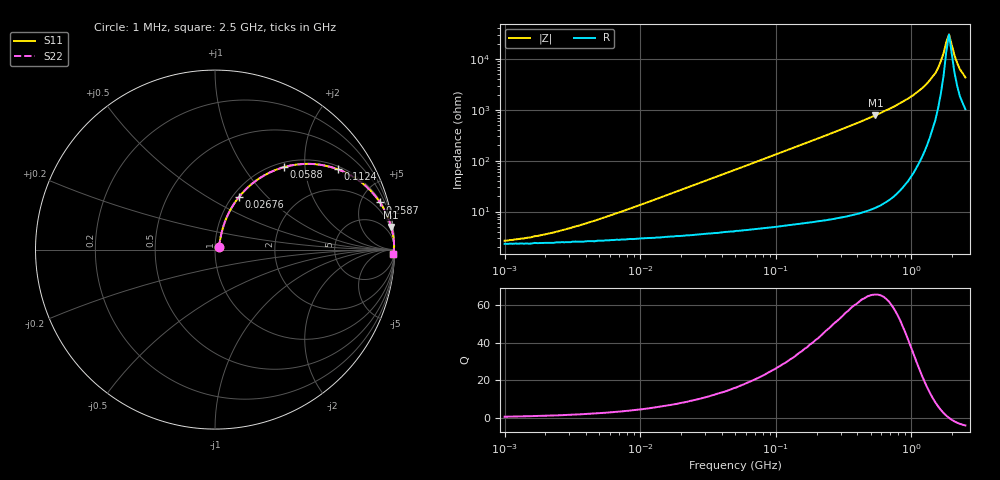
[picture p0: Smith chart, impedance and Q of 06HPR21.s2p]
# MHz S MA R 50
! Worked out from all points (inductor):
!   170 points, 1 MHz to 2.5 GHz, reference 50 ohm
!   read as one part in series: L = 210 nH near 6.372 MHz
!   highest Q = 65.7 at 542.5 MHz (marker M1), where L = 229 nH
!   self-resonance near 1.808 GHz
!   S11 on the Smith chart (normalised r, x): 1 MHz: 1.05, +0.03; 26.76 MHz: 1.07, +0.71; 58.8 MHz: 1.09, +1.55; 112.4 MHz: 1.10, +2.98; 258.7 MHz: 1.14, +6.96; 2.5 GHz: 22, -83
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1  0.026 29.1  0.977 -0.7  0.977 -0.7  0.026 29.1
1.743  0.032 42.5  0.976 -1.3  0.976 -1.3  0.032 42.5
3.829  0.055 60.1  0.974 -2.8  0.974 -2.8  0.055 60.1
13.998  0.179 70.2  0.955 -10.2  0.955 -10.2  0.179 70.2
26.763  0.324 65.4  0.914 -18.8  0.914 -18.8  0.324 65.4
51.171  0.545 53.5  0.805 -33.0  0.805 -33.0  0.545 53.5
58.795  0.598 50.2  0.769 -36.7  0.769 -36.7  0.598 50.2
112.416  0.817 33.2  0.549 -54.7  0.549 -54.7  0.817 33.2
187.066  0.92 21.6  0.369 -66.9  0.369 -66.9  0.92 21.6
258.665  0.956 15.9  0.275 -72.9  0.275 -72.9  0.956 15.9
542.546  0.99 7.3  0.127 -81.8  0.127 -81.8  0.99 7.3
683.861  0.994 5.5  0.096 -83.6  0.096 -83.6  0.994 5.5
1037.345  0.997 2.9  0.051 -85.4  0.051 -85.4  0.997 2.9
1369.494  0.998 1.5  0.026 -84.2  0.026 -84.2  0.998 1.5
1573.542  0.997 0.8  0.015 -79.8  0.015 -79.8  0.997 0.8
1726.199  0.997 0.4  0.007714 -68.3  0.007714 -68.3  0.997 0.4
1807.994  0.997 0.2  0.004624 -48.8  0.004624 -48.8  0.997 0.2
1893.665  0.997 -0.0  0.003295 3.4  0.003295 3.4  0.997 -0.0
2077.377  0.996 -0.4  0.008493 62.4  0.008493 62.4  0.996 -0.4
2175.813  0.996 -0.6  0.012 68.7  0.012 68.7  0.996 -0.6
2278.913  0.995 -0.9  0.016 72.0  0.016 72.0  0.995 -0.9
2500  0.994 -1.3  0.023 75.0  0.023 75.0  0.994 -1.3
